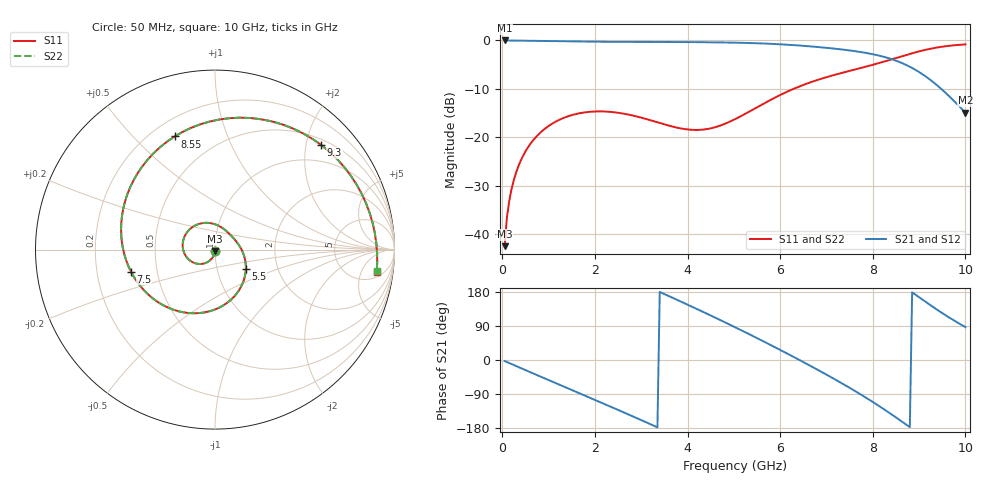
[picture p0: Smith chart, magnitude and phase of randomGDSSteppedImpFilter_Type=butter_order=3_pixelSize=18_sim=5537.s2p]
! freq	dB(S11)	phase(S11)	dB(S12)	phase(S12)
!  dB(S21)	phase(S21)	dB(S22)	phase(S22)
!S-par simulation data
#  GHz  S  DB  R 50
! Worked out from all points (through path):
!   200 points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, 50 MHz to 10 GHz, reference 50 ohm
!   highest |S21| = -0.01 dB at 50 MHz (marker M1); lowest = -14.9 dB at 10 GHz (marker M2)
!   group delay of S21, straight-line fit = 173 ps
!   lowest |S11| = -42.5 dB at 50 MHz (marker M3), VSWR 1.02, Z = 50 - j0.747 ohm
!   |S11| at or under -10 dB: start of sweep to 6.294 GHz
!   |S22| runs from -42.5 to -0.8 dB; largest |S21 - S12| = 0
!   S11 on the Smith chart (normalised r, x): 50 MHz: 1.00, -0.01; 5.5 GHz: 1.37, -0.31; 7.5 GHz: 0.35, -0.11; 8.55 GHz: 0.29, +0.66; 9.3 GHz: 0.61, +2.30; 10 GHz: 7, -10
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0.05  -42.53 -91.6  -0.01 -2.7  -0.01 -2.7  -42.53 -91.6
0.1  -36.59 -94.2  -0.01 -5.4  -0.01 -5.4  -36.59 -94.2
0.2  -30.74 -100.1  -0.02 -10.7  -0.02 -10.7  -30.73 -100.1
0.5  -22.95 -117.0  -0.06 -26.6  -0.06 -26.6  -22.95 -117.1
1.15  -16.80 -151.5  -0.17 -60.9  -0.17 -60.9  -16.80 -151.6
1.75  -14.92 177.0  -0.25 -92.2  -0.25 -92.2  -14.92 176.8
2.5  -14.95 137.5  -0.30 -131.7  -0.30 -131.7  -14.95 137.3
3.4  -17.07 88.9  -0.31 179.6  -0.31 179.6  -17.07 88.4
3.85  -18.18 63.8  -0.33 154.5  -0.33 154.5  -18.18 63.3
4.35  -18.42 35.5  -0.37 126.1  -0.37 126.1  -18.42 35.0
5.05  -16.16 -5.3  -0.47 85.1  -0.47 85.1  -16.16 -5.6
5.5  -13.82 -32.5  -0.58 57.8  -0.58 57.8  -13.82 -32.6
6.1  -10.83 -70.0  -0.85 20.3  -0.85 20.3  -10.83 -70.0
6.7  -8.51 -109.2  -1.26 -18.5  -1.26 -18.5  -8.51 -109.2
7.5  -6.30 -165.4  -2.06 -73.4  -2.06 -73.4  -6.30 -165.3
7.9  -5.30 163.9  -2.66 -103.0  -2.66 -103.0  -5.30 164.0
8.35  -4.07 126.9  -3.70 -138.9  -3.70 -138.9  -4.07 127.0
8.55  -3.49 109.6  -4.36 -155.7  -4.36 -155.7  -3.49 109.8
8.95  -2.38 74.6  -6.24 169.9  -6.24 169.9  -2.38 74.7
9.3  -1.61 44.6  -8.58 140.1  -8.58 140.1  -1.62 44.8
9.65  -1.11 16.9  -11.53 112.1  -11.53 112.1  -1.11 17.1
10  -0.82 -7.8  -14.94 86.8  -14.94 86.8  -0.82 -7.6
